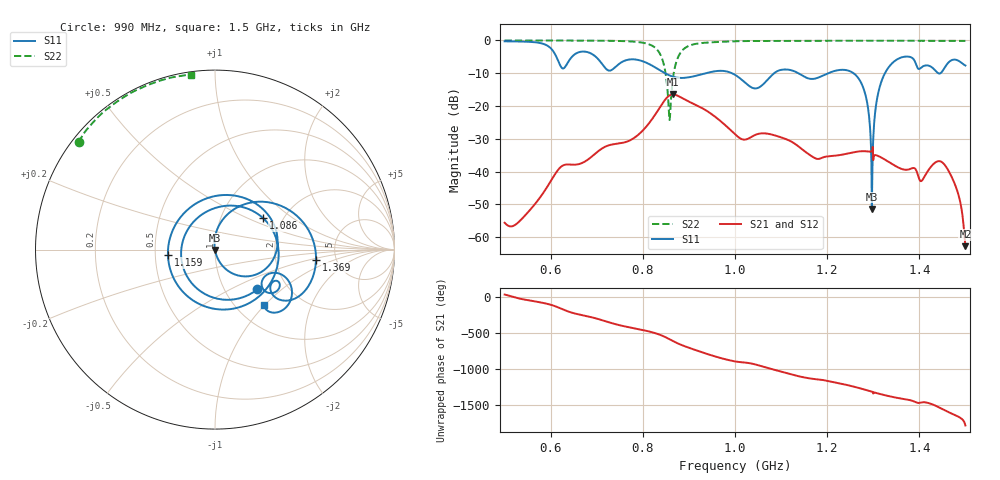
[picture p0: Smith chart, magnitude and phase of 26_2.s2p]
! TOUCHSTONE file generated by CST MICROWAVE STUDIO
! Date and time: Thu Feb 11 19:34:28 2021
! Project name: Scenario_1_Planar_Body_Tissue_Out_of_Line.cst
! Parameters = {L_HA=400; Ltissue=1000; MT=2.54; Rad_Dielectric=30; Rad_Lower=7.3; Rad_Upper=30; Wtissue=1000; a_HA=580; a_WG=246; b_HA=500; b_WG=121; c_HA=0; c_WG=187; d_feed=85; dx1=346; dy1=86.5; h_feed=15; h_lower=18; h_upper=40; hfat=3; hgap=25; hmuscle=50; hskin=1.5}
! Header version: 2018
! Port assignment regex: !\s*Touchstone port\s*([0-9]+)\s*=\s*(CST MWS port|CST DS port)\s*([0-9]+|Zmin|Zmax)\s*\(\"(.*)\"\)(\s*mode\s*([0-9]+))?.*
! Touchstone port assignment:
! Touchstone port 1 = CST MWS port 1 ("")
! Touchstone port 2 = CST MWS port 2 ("")
# GHz S DB R 50
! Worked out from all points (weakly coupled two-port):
!   1003 points, 500 MHz to 1.5 GHz, reference 50 ohm
!   highest |S21| = -16.48 dB at 865 MHz (marker M1); lowest = -62.7 dB at 1.5 GHz (marker M2)
!   lowest |S11| = -51.4 dB at 1.297 GHz (marker M3), VSWR 1.01, Z = 50 - j0.27 ohm
!   |S11| at or under -10 dB: 848.3 MHz to 936.7 MHz (88.33 MHz wide, 9.9 % of centre); 993.4 MHz to 1.085 GHz (91.56 MHz wide, 8.81 % of centre); 1.257 GHz to 1.325 GHz (68.15 MHz wide, 5.28 % of centre) (the widest 3 of 5)
!   |S22| runs from -24.3 to 0.0 dB; largest |S21 - S12| = 0.0034
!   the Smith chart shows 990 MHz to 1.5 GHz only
!   S11 on the Smith chart (normalised r, x): 990 MHz: 1.42, -0.70; 1.086 GHz: 1.59, +0.62; 1.159 GHz: 0.58, -0.04; 1.369 GHz: 3.50, -0.58; 1.5 GHz: 1.33, -1.00
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0.5  -0.27 -121.5  -55.58 33.9  -55.58 33.9  -0.01 151.1
0.667  -3.41 155.5  -37.43 109.8  -37.43 109.8  -0.04 138.4
0.716  -7.99 23.5  -32.55 29.4  -32.55 29.4  -0.09 132.8
0.74  -8.16 -98.6  -31.57 -16.2  -31.57 -16.2  -0.14 129.2
0.768  -5.88 175.7  -30.72 -57.2  -30.72 -57.2  -0.27 123.5
0.8  -6.37 104.1  -27.44 -98.2  -27.44 -98.2  -0.71 112.6
0.834  -8.83 24.3  -21.05 -156.8  -21.05 -156.8  -3.35 84.1
0.857  -10.61 -40.7  -16.86 137.0  -16.86 137.0  -22.80 -11.3
0.865  -11.04 -65.8  -16.48 110.0  -16.48 110.0  -11.93 -136.9
0.935  -10.06 85.1  -21.14 -60.9  -21.14 -60.9  -0.70 152.2
0.99  -9.80 -43.1  -27.27 -160.8  -27.27 -160.8  -0.30 141.7
1  -10.48 -67.1  -28.59 -173.5  -28.59 -173.5  -0.26 140.3
1.086  -9.89 33.1  -28.93 68.9  -28.93 68.9  -0.13 130.9
1.126  -9.25 -72.7  -31.14 0.0  -31.14 0.0  -0.11 127.4
1.159  -11.57 -173.5  -34.59 -46.1  -34.59 -46.1  -0.10 124.8
1.167  -11.74 161.1  -35.35 -54.1  -35.35 -54.1  -0.10 124.2
1.264  -10.86 -25.8  -33.94 -174.0  -33.94 -174.0  -0.08 116.8
1.297  -51.37 -88.8  -33.76 126.6  -33.78 126.7  -0.08 114.3
1.334  -8.07 42.0  -37.07 64.2  -37.07 64.2  -0.09 111.5
1.369  -4.95 -5.7  -39.41 21.8  -39.42 21.8  -0.09 108.8
1.454  -8.53 -20.6  -37.74 -128.9  -37.74 -128.9  -0.11 101.9
1.5  -7.65 -48.6  -62.71 17.8  -62.71 17.8  -0.13 97.9
